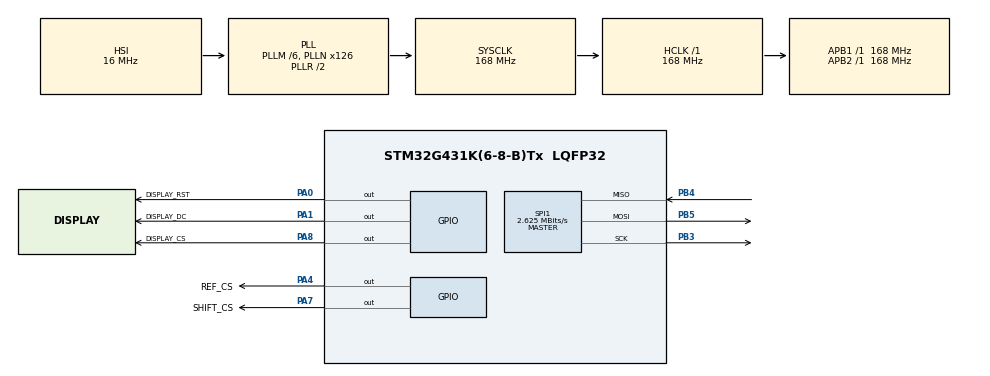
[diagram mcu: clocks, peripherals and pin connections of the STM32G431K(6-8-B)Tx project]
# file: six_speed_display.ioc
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Dma.Request0=SPI1_TX
Dma.SPI1_TX.0.Direction=DMA_MEMORY_TO_PERIPH
Dma.SPI1_TX.0.EventEnable=DISABLE
Dma.SPI1_TX.0.Instance=DMA1_Channel1
Dma.SPI1_TX.0.MemDataAlignment=DMA_MDATAALIGN_BYTE
Dma.SPI1_TX.0.MemInc=DMA_MINC_ENABLE
Dma.SPI1_TX.0.Mode=DMA_CIRCULAR
Dma.SPI1_TX.0.PeriphDataAlignment=DMA_PDATAALIGN_BYTE
Dma.SPI1_TX.0.PeriphInc=DMA_PINC_DISABLE
Dma.SPI1_TX.0.Polarity=HAL_DMAMUX_REQ_GEN_RISING
Dma.SPI1_TX.0.Priority=DMA_PRIORITY_LOW
Dma.SPI1_TX.0.RequestNumber=1
Dma.SPI1_TX.0.SignalID=NONE
Dma.SPI1_TX.0.SyncEnable=DISABLE
Dma.SPI1_TX.0.SyncPolarity=HAL_DMAMUX_SYNC_NO_EVENT
Dma.SPI1_TX.0.SyncRequestNumber=1
Dma.SPI1_TX.0.SyncSignalID=NONE
Mcu.Family=STM32G4
Mcu.Name=STM32G431K(6-8-B)Tx
Mcu.Package=LQFP32
NVIC.DMA1_Channel1_IRQn=true\:0\:0\:false\:false\:true\:false\:true\:true
NVIC.PriorityGroup=NVIC_PRIORITYGROUP_4
PA0.GPIO_Label=DISPLAY_RST
PA0.GPIO_PuPd=GPIO_PULLUP
PA0.GPIO_Speed=GPIO_SPEED_FREQ_MEDIUM
PA0.PinState=GPIO_PIN_SET
PA0.Signal=GPIO_Output
PA1.GPIO_Label=DISPLAY_DC
PA1.GPIO_PuPd=GPIO_PULLUP
PA1.GPIO_Speed=GPIO_SPEED_FREQ_MEDIUM
PA1.PinState=GPIO_PIN_SET
PA1.Signal=GPIO_Output
PA4.GPIO_Label=REF_CS
PA4.GPIO_PuPd=GPIO_PULLUP
PA4.GPIO_Speed=GPIO_SPEED_FREQ_MEDIUM
PA4.PinState=GPIO_PIN_SET
PA4.Signal=GPIO_Output
PA7.GPIO_Label=SHIFT_CS
PA7.GPIO_PuPd=GPIO_PULLUP
PA7.GPIO_Speed=GPIO_SPEED_FREQ_MEDIUM
PA7.PinState=GPIO_PIN_SET
PA7.Signal=GPIO_Output
PA8.GPIO_Label=DISPLAY_CS
PA8.GPIO_PuPd=GPIO_PULLUP
PA8.GPIO_Speed=GPIO_SPEED_FREQ_MEDIUM
PA8.PinState=GPIO_PIN_SET
PA8.Signal=GPIO_Output
PB3.GPIO_Speed=GPIO_SPEED_FREQ_MEDIUM
PB3.Mode=Full_Duplex_Master
PB3.Signal=SPI1_SCK
PB4.GPIO_PuPd=GPIO_PULLUP
PB4.GPIO_Speed=GPIO_SPEED_FREQ_MEDIUM
PB4.Mode=Full_Duplex_Master
PB4.Signal=SPI1_MISO
PB5.GPIO_Speed=GPIO_SPEED_FREQ_MEDIUM
PB5.Mode=Full_Duplex_Master
PB5.Signal=SPI1_MOSI
ProjectManager.HeapSize=0x200
ProjectManager.StackSize=0x400
ProjectManager.TargetToolchain=STM32CubeIDE
RCC.ADC12Freq_Value=168000000
RCC.AHBFreq_Value=168000000
RCC.APB1Freq_Value=168000000
RCC.APB1TimFreq_Value=168000000
RCC.APB2Freq_Value=168000000
RCC.APB2TimFreq_Value=168000000
RCC.CortexFreq_Value=168000000
RCC.EXTERNAL_CLOCK_VALUE=12288000
RCC.HCLKFreq_Value=168000000
RCC.HSE_VALUE=24000000
RCC.HSI48_VALUE=48000000
RCC.HSI_VALUE=16000000
RCC.LSE_VALUE=32768
RCC.PLLM=RCC_PLLM_DIV6
RCC.PLLN=126
RCC.SYSCLKFreq_VALUE=168000000
RCC.SYSCLKSource=RCC_SYSCLKSOURCE_PLLCLK
RCC.USBFreq_Value=168000000
RCC.VCOOutputFreq_Value=336000000
SPI1.BaudRatePrescaler=SPI_BAUDRATEPRESCALER_64
SPI1.CalculateBaudRate=2.625 MBits/s
SPI1.DataSize=SPI_DATASIZE_8BIT
SPI1.Direction=SPI_DIRECTION_2LINES
SPI1.Mode=SPI_MODE_MASTER
SPI1.VirtualType=VM_MASTER
VP_SYS_VS_DBSignals.Mode=DisableDeadBatterySignals
board=custom

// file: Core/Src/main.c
/* USER CODE BEGIN Header */
/**
  ******************************************************************************
  * @file           : main.c
  * @brief          : Main program body
  ******************************************************************************
  * @attention
  *
  * Copyright (c) 2024 STMicroelectronics.
  * All rights reserved.
  *
  * This software is licensed under terms that can be found in the LICENSE file
  * in the root directory of this software component.
  * If no LICENSE file comes with this software, it is provided AS-IS.
  *
  ******************************************************************************
  */
/* USER CODE END Header */
#include "main.h"
#include "dma.h"
#include "spi.h"
#include "gpio.h"

/* USER CODE BEGIN Includes */
#include <stdlib.h>
#include <stdio.h>
#include <math.h>
#include "st7789.h"
#include "lis3dh_reg.h"
#include "accelerometer.h"
#include "sixspeed.h"
#include "n3.h"

/* USER CODE END Includes */

void SystemClock_Config(void);

int main(void)
{
  /* USER CODE BEGIN 1 */
	lis3dh_t shift;
	lis3dh_t ref;
  /* USER CODE END 1 */

  /* MCU Configuration--------------------------------------------------------*/

  /* Reset of all peripherals, Initializes the Flash interface and the Systick. */
  HAL_Init();

  /* Configure the system clock */
  SystemClock_Config();

  /* USER CODE BEGIN SysInit */
  LIS3DH_Config(&ref, &hspi1, REF_CS_Pin);
  LIS3DH_Config(&shift, &hspi1, SHIFT_CS_Pin);
  /* USER CODE END SysInit */

  /* Initialize all configured peripherals */
  MX_GPIO_Init();
  MX_DMA_Init();
  MX_SPI1_Init();
  /* USER CODE BEGIN 2 */
  ST7789_Init();	//display init...do this after SPI init

  HAL_Delay(5);

  Accelerometer_Init(&ref);
  Accelerometer_Init(&shift);

  //ST7789_WriteChar(0, 0, 'N', Font_16x26, MAGENTA, BLACK);
  //ST7789_WriteBigChar(160, 120, 'N', Font_16x26, MAGENTA, BLACK, 4);
//  HAL_Delay(5);
  /* USER CODE END 2 */

  /* Infinite loop */
  while (1)
  {

    /* USER CODE BEGIN 3 */

	  sixspeed_process(&ref, &shift);

  }
  /* USER CODE END 3 */
}

void SystemClock_Config(void)
{
  RCC_OscInitTypeDef RCC_OscInitStruct = {0};
  RCC_ClkInitTypeDef RCC_ClkInitStruct = {0};

  /** Configure the main internal regulator output voltage
  */
  HAL_PWREx_ControlVoltageScaling(PWR_REGULATOR_VOLTAGE_SCALE1_BOOST);

  /** Initializes the RCC Oscillators according to the specified parameters
  * in the RCC_OscInitTypeDef structure.
  */
  RCC_OscInitStruct.OscillatorType = RCC_OSCILLATORTYPE_HSI;
  RCC_OscInitStruct.HSIState = RCC_HSI_ON;
  RCC_OscInitStruct.HSICalibrationValue = RCC_HSICALIBRATION_DEFAULT;
  RCC_OscInitStruct.PLL.PLLState = RCC_PLL_ON;
  RCC_OscInitStruct.PLL.PLLSource = RCC_PLLSOURCE_HSI;
  RCC_OscInitStruct.PLL.PLLM = RCC_PLLM_DIV6;
  RCC_OscInitStruct.PLL.PLLN = 126;
  RCC_OscInitStruct.PLL.PLLP = RCC_PLLP_DIV2;
  RCC_OscInitStruct.PLL.PLLQ = RCC_PLLQ_DIV2;
  RCC_OscInitStruct.PLL.PLLR = RCC_PLLR_DIV2;
  if (HAL_RCC_OscConfig(&RCC_OscInitStruct) != HAL_OK)
  {
    Error_Handler();
  }

  /** Initializes the CPU, AHB and APB buses clocks
  */
  RCC_ClkInitStruct.ClockType = RCC_CLOCKTYPE_HCLK|RCC_CLOCKTYPE_SYSCLK
                              |RCC_CLOCKTYPE_PCLK1|RCC_CLOCKTYPE_PCLK2;
  RCC_ClkInitStruct.SYSCLKSource = RCC_SYSCLKSOURCE_PLLCLK;
  RCC_ClkInitStruct.AHBCLKDivider = RCC_SYSCLK_DIV1;
  RCC_ClkInitStruct.APB1CLKDivider = RCC_HCLK_DIV1;
  RCC_ClkInitStruct.APB2CLKDivider = RCC_HCLK_DIV1;

  if (HAL_RCC_ClockConfig(&RCC_ClkInitStruct, FLASH_LATENCY_4) != HAL_OK)
  {
    Error_Handler();
  }
}

void Error_Handler(void)
{
  __disable_irq();
  while (1)
  {
  }
}
